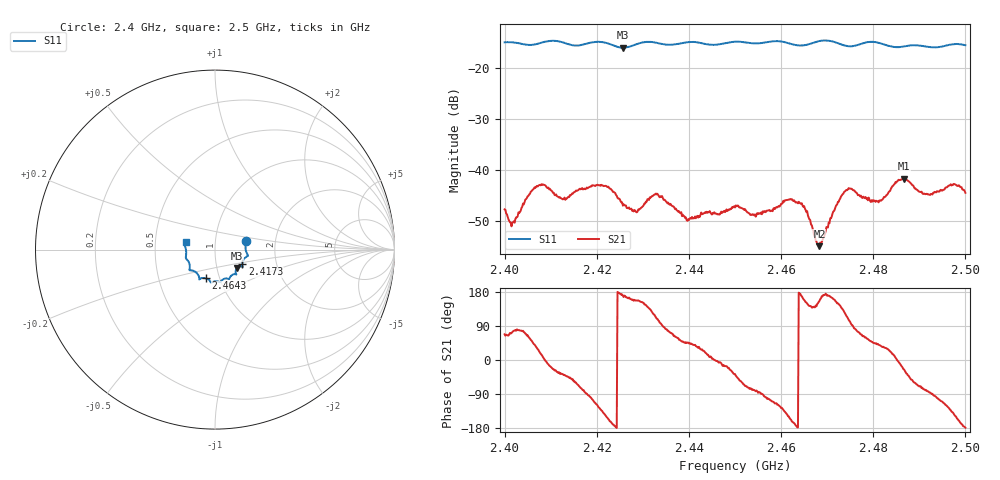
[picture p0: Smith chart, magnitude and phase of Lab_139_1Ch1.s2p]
# Hz S RI R 50
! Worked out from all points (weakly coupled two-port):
!   601 points, 2.4 GHz to 2.5 GHz, reference 50 ohm
!   highest |S21| = -41.75 dB at 2.4867 GHz (marker M1); lowest = -55.0 dB at 2.4683 GHz (marker M2)
!   lowest |S11| = -15.9 dB at 2.4257 GHz (marker M3), VSWR 1.38, Z = 62.4 - j13.1 ohm
!   |S11| at or under -10 dB: start of sweep to end of sweep
!   S12 and S22 are empty: the file has one direction only
!   S11 on the Smith chart (normalised r, x): 2.4 GHz: 1.41, +0.14; 2.4173 GHz: 1.34, -0.23; 2.4643 GHz: 0.86, -0.28; 2.5 GHz: 0.72, +0.06
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2.4e9  0.1735 0.0494  0.00155 0.00378  0 0  0 0
2.401833e9  0.1755 0.042  0.000754 0.00296  0 0  0 0
2.407833e9  0.1771 -0.0196  0.00675 0.00203  0 0  0 0
2.412833e9  0.175 -0.0399  0.00399 -0.00331  0 0  0 0
2.416667e9  0.1525 -0.0749  0.00169 -0.00629  0 0  0 0
2.417333e9  0.152 -0.0824  0.000699 -0.0065  0 0  0 0
2.422167e9  0.1507 -0.0943  -0.006 -0.00334  0 0  0 0
2.425667e9  0.1224 -0.1024  -0.00437 0.000812  0 0  0 0
2.4285e9  0.1153 -0.1281  -0.00356 0.00151  0 0  0 0
2.433333e9  0.1124 -0.1365  -0.00143 0.00547  0 0  0 0
2.439667e9  0.0801 -0.1622  0.00219 0.00227  0 0  0 0
2.45e9  0.0295 -0.1807  0.0034 -0.00258  0 0  0 0
2.454167e9  0.00885 -0.176  0.000674 -0.0035  0 0  0 0
2.464333e9  -0.05 -0.1603  -0.00455 0.00079  0 0  0 0
2.466667e9  -0.0762 -0.1594  -0.00213 0.00189  0 0  0 0
2.468333e9  -0.086 -0.1651  -0.00162 0.000713  0 0  0 0
2.474167e9  -0.0987 -0.134  -0.00283 0.00569  0 0  0 0
2.480667e9  -0.1424 -0.1112  0.00357 0.00346  0 0  0 0
2.483333e9  -0.1405 -0.0897  0.00538 0.00272  0 0  0 0
2.486667e9  -0.1537 -0.0584  0.00742 -0.00344  0 0  0 0
2.491167e9  -0.1614 -0.0333  0.00124 -0.00568  0 0  0 0
2.5e9  -0.1637 0.0417  -0.00594 -0.000134  0 0  0 0
